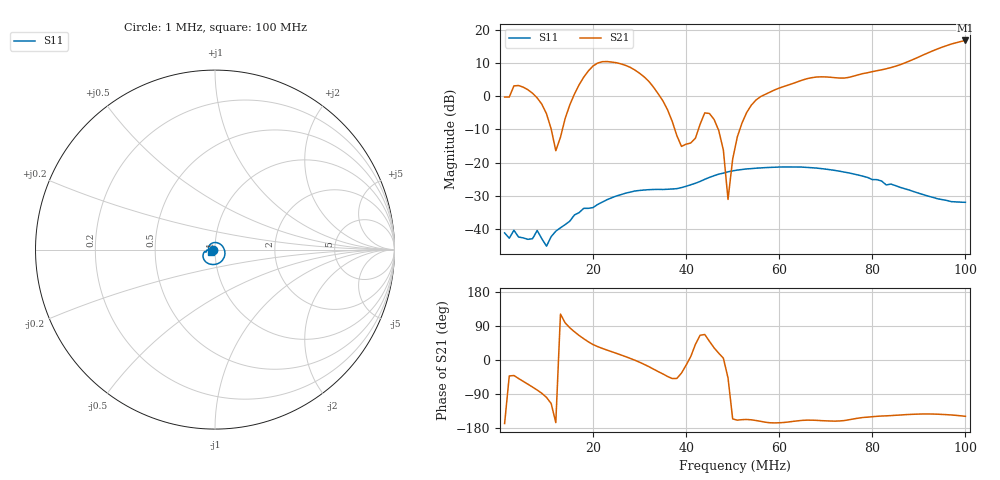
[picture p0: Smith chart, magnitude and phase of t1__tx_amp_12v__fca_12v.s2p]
# HZ S RI R 50
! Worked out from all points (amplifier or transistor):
!   100 points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, 1 MHz to 100 MHz, reference 50 ohm
!   highest |S21| = 16.9 dB at 100 MHz (marker M1)
!   |S21| within 3 dB of that: 93.22 MHz to end of sweep
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1000001  -0.00866 0.000532  -0.9521 -0.2091  0 0  0 0
2000001  -0.0072 -0.000539  0.7226 -0.6534  0 0  0 0
3000001  -0.00951 8.28e-05  1.085 -0.9413  0 0  0 0
7000001  -0.00691 -0.00163  0.3541 -1.054  0 0  0 0
1.2e7  -0.00757 -0.00527  -0.1458 -0.0387  0 0  0 0
1.5e7  -0.00956 -0.00886  0.0631 0.7369  0 0  0 0
1.8e7  -0.0175 -0.0104  1.085 1.613  0 0  0 0
2.1e7  -0.0201 -0.0118  2.589 1.837  0 0  0 0
2.5e7  -0.0307 -0.00643  3.059 0.9747  0 0  0 0
2.9e7  -0.0358 0.0104  2.489 -0.0283  0 0  0 0
3.4e7  -0.0171 0.0355  0.9385 -0.5551  0 0  0 0
3.9e7  0.027 0.0321  0.1445 -0.0993  0 0  0 0
4.4e7  0.0548 -0.0111  0.2166 0.5186  0 0  0 0
4.6e7  0.0541 -0.033  0.3794 0.2387  0 0  0 0
4.8e7  0.0456 -0.0521  0.1541 0.0131  0 0  0 0
4.9e7  0.0409 -0.06  0.0189 -0.0204  0 0  0 0
5.1e7  0.0277 -0.0719  -0.2279 -0.0887  0 0  0 0
6.7e7  -0.0596 -0.0586  -1.78 -0.6902  0 0  0 0
7.4e7  -0.066 -0.0284  -1.768 -0.6508  0 0  0 0
8.4e7  -0.0472 -0.004  -2.268 -1.49  0 0  0 0
9.1e7  -0.0327 -0.00279  -3.349 -2.577  0 0  0 0
1e8  -0.0225 -0.0111  -5.94 -3.626  0 0  0 0
